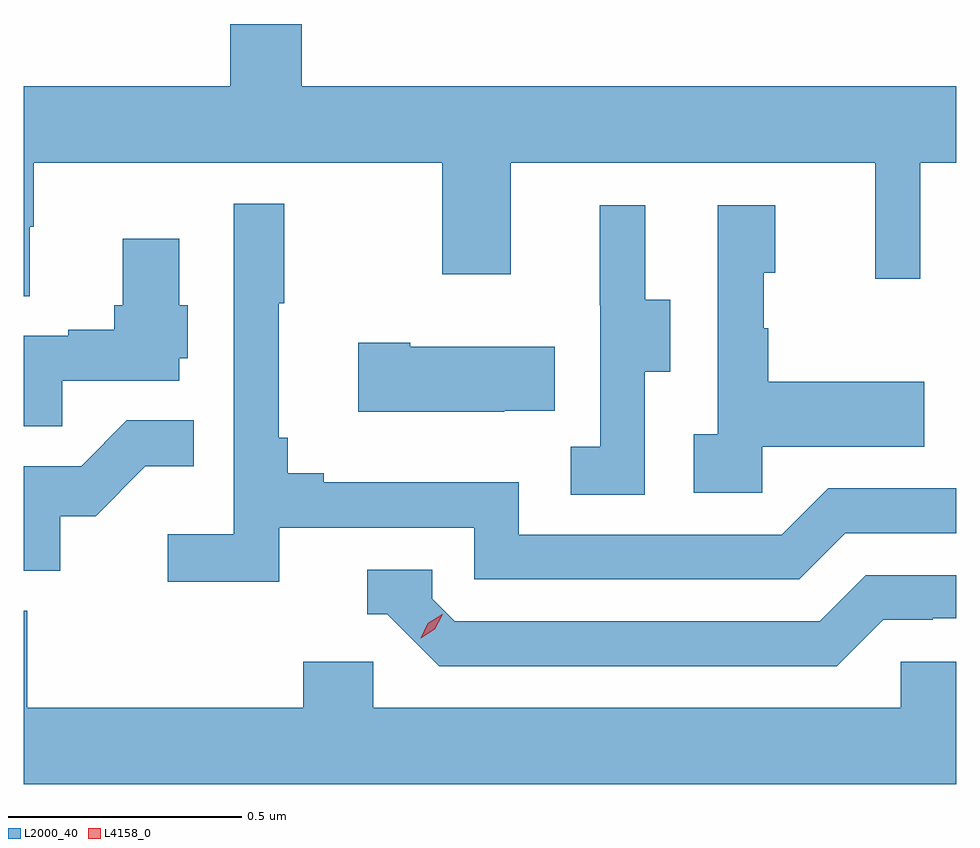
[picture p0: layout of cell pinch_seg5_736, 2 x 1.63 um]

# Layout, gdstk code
import gdstk
lib = gdstk.Library(unit=1e-6, precision=1e-09)
def P(c, l, *ps):  # polygons
    for p in ps: c.add(gdstk.Polygon(p, *l))
L2000_40 = (2000, 40)
L4158_0 = (4158, 0)

pinch_seg5_736 = lib.new_cell('pinch_seg5_736')
P(pinch_seg5_736, L2000_40, [(1108.441,853.959),(1108.449,853.959),(1108.449,854.096),(1109.326,854.096),(1109.326,853.857),(1109.473,853.857),(1109.473,854.096),(1110.254,854.096),(1110.254,853.848),(1110.351,853.848),(1110.351,854.096),(1110.428,854.096),(1110.428,854.26),(1109.024,854.26),(1109.024,854.394),(1108.871,854.394),(1108.871,854.26),(1108.428,854.26),(1108.428,853.81),(1108.441,853.81)],
  [(1108.976,853.314),(1109.394,853.314),(1109.394,853.203),(1110.091,853.203),(1110.19,853.302),(1110.428,853.302),(1110.428,853.398),(1110.153,853.398),(1110.054,853.299),(1109.49,853.299),(1109.49,853.411),(1109.071,853.411),(1109.071,853.43),(1108.994,853.43),(1108.994,853.507),(1108.975,853.507),(1108.975,853.795),(1108.987,853.795),(1108.987,854.008),(1108.878,854.008),(1108.878,853.3),(1108.737,853.3),(1108.737,853.198),(1108.976,853.198)],
  [(1109.76,853.648),(1109.815,853.648),(1109.815,853.803),(1109.761,853.803),(1109.761,854.005),(1109.663,854.005),(1109.663,853.791),(1109.664,853.791),(1109.664,853.487),(1109.601,853.487),(1109.601,853.384),(1109.76,853.384)],
  [(1110.012,853.487),(1110.359,853.487),(1110.359,853.627),(1110.025,853.627),(1110.025,853.742),(1110.015,853.742),(1110.015,853.86),(1110.04,853.86),(1110.04,854.005),(1109.916,854.005),(1109.916,853.514),(1109.865,853.514),(1109.865,853.389),(1110.012,853.389)],
  [(1108.511,853.629),(1108.762,853.629),(1108.762,853.677),(1108.78,853.677),(1108.78,853.791),(1108.762,853.791),(1108.762,853.933),(1108.64,853.933),(1108.64,853.791),(1108.622,853.791),(1108.622,853.738),(1108.523,853.738),(1108.523,853.725),(1108.428,853.725),(1108.428,853.531),(1108.511,853.531)],
  [(1109.459,853.565),(1109.567,853.565),(1109.567,853.702),(1109.257,853.702),(1109.257,853.71),(1109.145,853.71),(1109.145,853.562),(1109.459,853.562)],
  [(1108.506,853.338),(1108.582,853.338),(1108.689,853.445),(1108.793,853.445),(1108.793,853.544),(1108.649,853.544),(1108.551,853.446),(1108.428,853.446),(1108.428,853.221),(1108.506,853.221)],
  [(1110.271,853.116),(1110.378,853.116),(1110.378,853.119),(1110.428,853.119),(1110.428,853.212),(1110.234,853.212),(1110.135,853.113),(1109.352,853.113),(1109.304,853.161),(1109.304,853.224),(1109.165,853.224),(1109.165,853.128),(1109.208,853.128),(1109.319,853.017),(1110.172,853.017)],
  [(1110.428,853.026),(1110.309,853.026),(1110.309,852.928),(1109.178,852.928),(1109.178,853.026),(1109.027,853.026),(1109.027,852.928),(1108.436,852.928),(1108.436,853.136),(1108.428,853.136),(1108.428,852.764),(1110.428,852.764)])
P(pinch_seg5_736, L4158_0, [(1109.279,853.077),(1109.279,853.077),(1109.295,853.109),(1109.326,853.128),(1109.327,853.128),(1109.327,853.128),(1109.31,853.096),(1109.279,853.077)])

lib.write_gds('pinch_seg5_736.gds')
